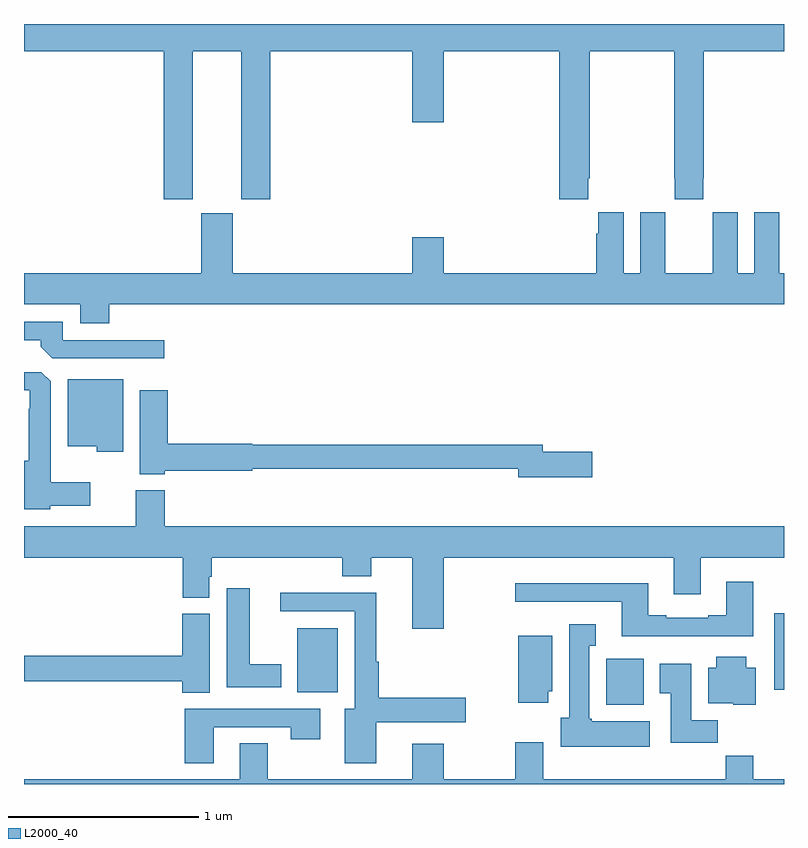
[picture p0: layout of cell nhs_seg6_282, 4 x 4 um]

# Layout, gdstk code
import gdstk
lib = gdstk.Library(unit=1e-6, precision=1e-09)
def R(c, l, rs):  # rectangles x0, y0, x1, y1
    for r in rs: c.add(gdstk.rectangle(r[:2], r[2:], *l))
def P(c, l, *ps):  # polygons
    for p in ps: c.add(gdstk.Polygon(p, *l))
L2000_40 = (2000, 40)

nhs_seg6_282 = lib.new_cell('nhs_seg6_282')
R(nhs_seg6_282, L2000_40, [(130.064,923.918,130.261,924.16), (128.438,923.984,128.65,924.319), (130.949,923.996,131,924.4)])
P(nhs_seg6_282, L2000_40, [(127.888,927.356),(128.144,927.356),(128.144,926.577),(128.297,926.577),(128.297,927.356),(129.044,927.356),(129.044,926.982),(129.208,926.982),(129.208,927.356),(129.818,927.356),(129.818,926.577),(129.971,926.577),(129.971,926.689),(129.977,926.689),(129.977,927.356),(130.423,927.356),(130.423,926.689),(130.425,926.689),(130.425,926.577),(130.575,926.577),(130.575,926.689),(130.578,926.689),(130.578,927.356),(131,927.356),(131,927.5),(127,927.5),(127,927.356),(127.736,927.356),(127.736,926.577),(127.888,926.577)],
  [(131,926.188),(130.975,926.188),(130.975,926.396),(130.974,926.396),(130.974,926.509),(130.844,926.509),(130.844,926.188),(130.756,926.188),(130.756,926.509),(130.626,926.509),(130.626,926.396),(130.625,926.396),(130.625,926.188),(130.375,926.188),(130.375,926.396),(130.374,926.396),(130.374,926.509),(130.244,926.509),(130.244,926.188),(130.156,926.188),(130.156,926.509),(130.022,926.509),(130.022,926.396),(130.013,926.396),(130.013,926.188),(129.208,926.188),(129.208,926.377),(129.044,926.377),(129.044,926.188),(128.098,926.188),(128.098,926.505),(127.934,926.505),(127.934,926.188),(127,926.188),(127,926.024),(127.295,926.024),(127.295,925.925),(127.448,925.925),(127.448,926.024),(131,926.024)],
  [(127.738,925.836),(127.203,925.836),(127.203,925.932),(127,925.932),(127,925.836),(127.088,925.836),(127.088,925.802),(127.149,925.74),(127.738,925.74)],
  [(127.137,924.965),(127.348,924.965),(127.348,925.087),(127.141,925.087),(127.141,925.619),(127.092,925.668),(127,925.668),(127,925.572),(127.029,925.572),(127.029,925.475),(127.025,925.475),(127.025,925.201),(127,925.201),(127,924.947),(127.137,924.947)],
  [(127.522,925.63),(127.229,925.63),(127.229,925.277),(127.383,925.277),(127.383,925.25),(127.522,925.25)],
  [(129.991,925.25),(129.73,925.25),(129.73,925.286),(128.202,925.286),(128.202,925.292),(127.757,925.292),(127.757,925.573),(127.61,925.573),(127.61,925.13),(127.74,925.13),(127.74,925.15),(128.202,925.15),(128.202,925.158),(129.602,925.158),(129.602,925.115),(129.991,925.115)],
  [(129.208,924.692),(130.421,924.692),(130.421,924.498),(130.561,924.498),(130.561,924.692),(131,924.692),(131,924.856),(127.742,924.856),(127.742,925.045),(127.589,925.045),(127.589,924.856),(127,924.856),(127,924.692),(127.835,924.692),(127.835,924.481),(127.975,924.481),(127.975,924.591),(127.988,924.591),(127.988,924.692),(128.675,924.692),(128.675,924.593),(128.827,924.593),(128.827,924.692),(129.044,924.692),(129.044,924.318),(129.208,924.318)],
  [(130.837,924.565),(130.697,924.565),(130.697,924.388),(130.601,924.388),(130.601,924.375),(130.381,924.375),(130.381,924.388),(130.285,924.388),(130.285,924.556),(129.585,924.556),(129.585,924.459),(130.145,924.459),(130.145,924.278),(130.837,924.278)],
  [(128.353,924.13),(128.188,924.13),(128.188,924.529),(128.066,924.529),(128.066,924.008),(128.353,924.008)],
  [(128.854,923.825),(129.325,923.825),(129.325,923.955),(128.867,923.955),(128.867,924.143),(128.854,924.143),(128.854,924.506),(128.349,924.506),(128.349,924.408),(128.741,924.408),(128.741,923.896),(128.687,923.896),(128.687,923.61),(128.854,923.61)],
  [(127.978,924.396),(127.832,924.396),(127.832,924.176),(127,924.176),(127,924.04),(127.832,924.04),(127.832,923.98),(127.978,923.98)],
  [(130.294,923.83),(129.989,923.83),(129.989,923.844),(129.976,923.844),(129.976,924.227),(130.009,924.227),(130.009,924.34),(129.869,924.34),(129.869,923.85),(129.824,923.85),(129.824,923.696),(130.294,923.696)],
  [(129.76,923.988),(129.781,923.988),(129.781,924.28),(129.602,924.28),(129.602,923.928),(129.76,923.928)],
  [(130.852,924.112),(130.801,924.112),(130.801,924.169),(130.643,924.169),(130.643,924.112),(130.601,924.112),(130.601,923.924),(130.734,923.924),(130.734,923.918),(130.852,923.918)],
  [(130.652,923.836),(130.513,923.836),(130.513,924.133),(130.346,924.133),(130.346,923.977),(130.403,923.977),(130.403,923.718),(130.652,923.718)],
  [(127.999,923.799),(128.404,923.799),(128.404,923.736),(128.56,923.736),(128.56,923.895),(127.847,923.895),(127.847,923.61),(127.999,923.61)],
  [(131,923.524),(130.837,923.524),(130.837,923.648),(130.693,923.648),(130.693,923.524),(129.733,923.524),(129.733,923.719),(129.586,923.719),(129.586,923.524),(129.208,923.524),(129.208,923.713),(129.044,923.713),(129.044,923.524),(128.283,923.524),(128.283,923.714),(128.135,923.714),(128.135,923.524),(127,923.524),(127,923.5),(131,923.5)])

lib.write_gds('nhs_seg6_282.gds')
